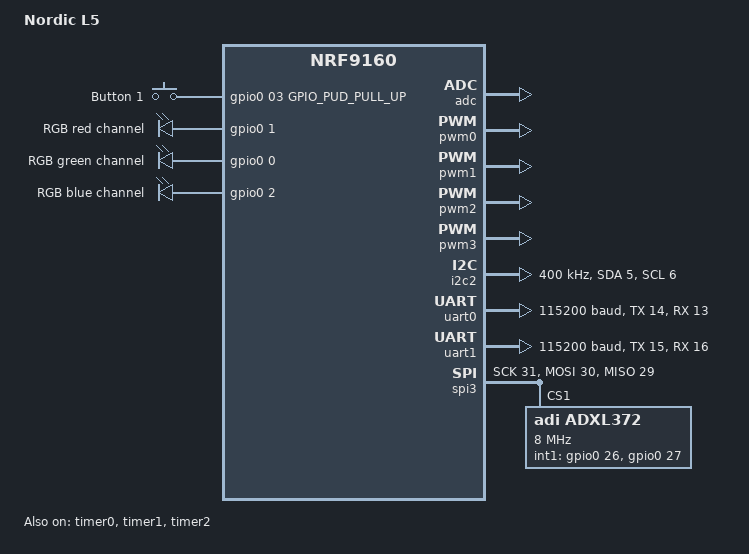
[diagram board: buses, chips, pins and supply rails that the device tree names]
/*
 * Copyright (c) 2019 Nordic Semiconductor ASA
 *
 * SPDX-License-Identifier: LicenseRef-BSD-5-Clause-Nordic
 */

/ {
	model = "Nordic L5";
	compatible = "nordic,l5", "nordic,nrf9160-sica",
		     "nordic,nrf9160";

	chosen {
		zephyr,console = &uart0;
		zephyr,shell-uart = &uart0;
		zephyr,uart-mcumgr = &uart0;
	};

	buttons {
		compatible = "gpio-keys";

		button0: button_0 {
			gpios = <&gpio0 03 GPIO_PUD_PULL_UP>;
			label = "Button 1";
		};
	};

	leds {
		compatible = "gpio-leds";
		red_led: led_1 {
			gpios = <&gpio0 1 0>;
			label = "RGB red channel";
		};
		green_led: led_2 {
			gpios = <&gpio0 0 0>;
			label = "RGB green channel";
		};
		blue_led: led_3 {
			gpios = <&gpio0 2 0>;
			label = "RGB blue channel";
		};
	};

	aliases {
		sw0 = &button0;
		led0 = &red_led;
		led1 = &green_led;
		led2 = &blue_led;
		rgb-pwm = &pwm0;
	};
};

&adc {
	status = "okay";
};

&gpiote {
	status = "okay";
};

&gpio0 {
	status = "okay";
};

/* PWM0 is intended for RGB LED control */
&pwm0 {
	status = "okay";
	ch0-pin = <0>;
	ch1-pin = <1>;
	ch2-pin = <2>;
};

&pwm1 {
	status = "okay";
};

&pwm2 {
	status = "okay";
};

&pwm3 {
	status = "okay";
};

&i2c2 {
	compatible = "nordic,nrf-twim";
	status = "okay";
	sda-pin = <5>;
	scl-pin = <6>;
	clock-frequency = <I2C_BITRATE_FAST>;
};

&timer0 {
	status = "okay";
};

&timer1 {
	status = "okay";
};

&timer2 {
	status = "okay";
};

&uart0 {
	current-speed = <115200>;
	status = "okay";
	tx-pin = <14>;
	rx-pin = <13>;
};

&uart1 {
	current-speed = <115200>;
	status = "okay";
	tx-pin = <15>;
	rx-pin = <16>;
};

&spi3 {
	compatible = "nordic,nrf-spim";
	status = "okay";
	sck-pin = <31>;
	mosi-pin = <30>;
	miso-pin = <29>;

	adxl372@1 {
		compatible = "adi,adxl372";
		label = "ADXL372";
		spi-max-frequency = <8000000>;
		reg = <1>;
		int1-gpios = <&gpio0 26 0>, <&gpio0 27 0>;
	};
};

&flash0 {
	/*
	 * For more information, see:
	 * http://docs.zephyrproject.org/devices/dts/flash_partitions.html
	 */
	partitions {
		compatible = "fixed-partitions";
		#address-cells = <1>;
		#size-cells = <1>;

		boot_partition: partition@0 {
			label = "mcuboot";
			reg = <0x00000000 0x10000>;
		};
		slot0_partition: partition@10000 {
			label = "image-0";
		};
		slot0_ns_partition: partition@40000 {
			label = "image-0-nonsecure";
		};
		slot1_partition: partition@80000 {
			label = "image-1";
		};
		slot1_ns_partition: partition@b0000 {
			label = "image-1-nonsecure";
		};
		scratch_partition: partition@f0000 {
			label = "image-scratch";
			reg = <0x000f0000 0xa000>;
		};
		storage_partition: partition@fa000 {
			label = "storage";
			reg = <0x000fa000 0x00006000>;
		};
	};
};

/ {
	/* SRAM allocated and used by the BSD library */
	sram0_bsd: memory@20010000 {
		device_type = "memory";
		compatible = "mmio-sram";
	};

	/* SRAM allocated to the Non-Secure image */
	sram0_ns: memory@20020000 {
		device_type = "memory";
		compatible = "mmio-sram";
	};
};

/* Include partition configuration file */
#include "nrf9160_l5_partition_conf.dts"
